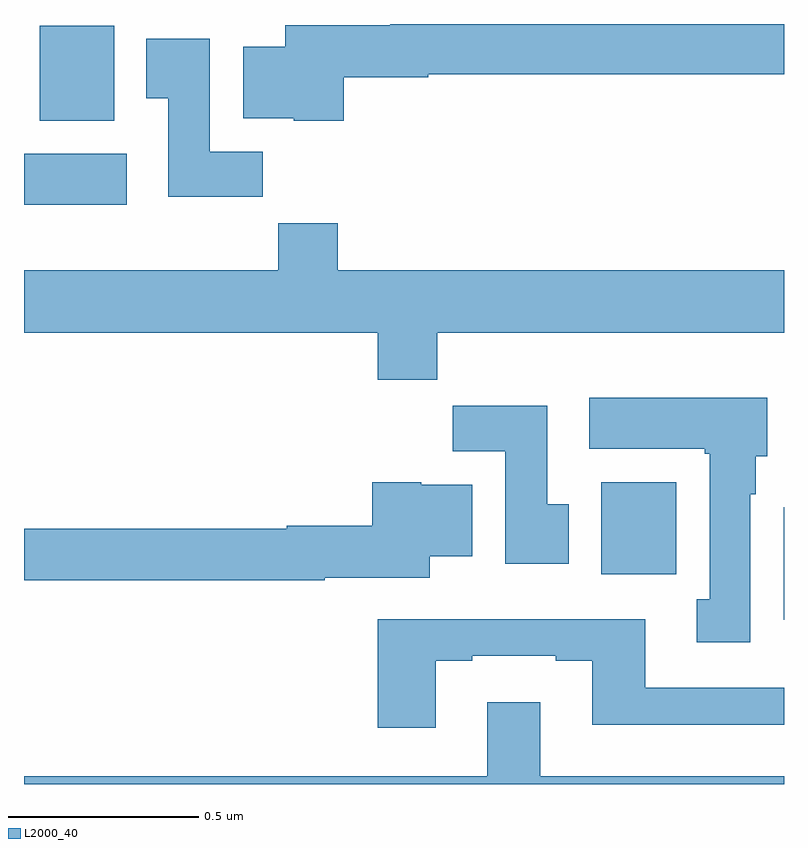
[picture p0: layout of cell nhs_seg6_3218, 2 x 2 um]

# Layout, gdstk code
import gdstk
lib = gdstk.Library(unit=1e-6, precision=1e-09)
def R(c, l, rs):  # rectangles x0, y0, x1, y1
    for r in rs: c.add(gdstk.rectangle(r[:2], r[2:], *l))
def P(c, l, *ps):  # polygons
    for p in ps: c.add(gdstk.Polygon(p, *l))
L2000_40 = (2000, 40)

nhs_seg6_3218 = lib.new_cell('nhs_seg6_3218')
R(nhs_seg6_3218, L2000_40, [(155.999,927.932,156,928.228), (155.519,928.052,155.716,928.294), (154,929.024,154.27,929.158), (154.041,929.246,154.237,929.496)])
P(nhs_seg6_3218, L2000_40, [(154.841,929.36),(155.064,929.36),(155.064,929.368),(156,929.368),(156,929.5),(154.964,929.5),(154.964,929.497),(154.688,929.497),(154.688,929.44),(154.577,929.44),(154.577,929.252),(154.71,929.252),(154.71,929.246),(154.841,929.246)],
  [(154.628,929.164),(154.489,929.164),(154.489,929.461),(154.322,929.461),(154.322,929.305),(154.379,929.305),(154.379,929.046),(154.628,929.046)],
  [(155.087,928.688),(156,928.688),(156,928.852),(154.826,928.852),(154.826,928.976),(154.669,928.976),(154.669,928.852),(154,928.852),(154,928.688),(154.931,928.688),(154.931,928.564),(155.087,928.564)],
  [(155.911,928.262),(155.926,928.262),(155.926,928.362),(155.956,928.362),(155.956,928.516),(155.487,928.516),(155.487,928.382),(155.791,928.382),(155.791,928.369),(155.804,928.369),(155.804,927.986),(155.771,927.986),(155.771,927.873),(155.911,927.873)],
  [(155.434,928.236),(155.377,928.236),(155.377,928.495),(155.128,928.495),(155.128,928.376),(155.267,928.376),(155.267,928.08),(155.434,928.08)],
  [(154.792,928.043),(155.068,928.043),(155.068,928.1),(155.179,928.1),(155.179,928.288),(155.046,928.288),(155.046,928.294),(154.916,928.294),(154.916,928.18),(154.692,928.18),(154.692,928.172),(154,928.172),(154,928.036),(154.792,928.036)],
  [(155.083,927.825),(155.179,927.825),(155.179,927.837),(155.399,927.837),(155.399,927.825),(155.495,927.825),(155.495,927.656),(156,927.656),(156,927.753),(155.635,927.753),(155.635,927.934),(154.931,927.934),(154.931,927.648),(155.083,927.648)],
  [(156,927.52),(155.359,927.52),(155.359,927.715),(155.219,927.715),(155.219,927.52),(154,927.52),(154,927.5),(156,927.5)])

lib.write_gds('nhs_seg6_3218.gds')
